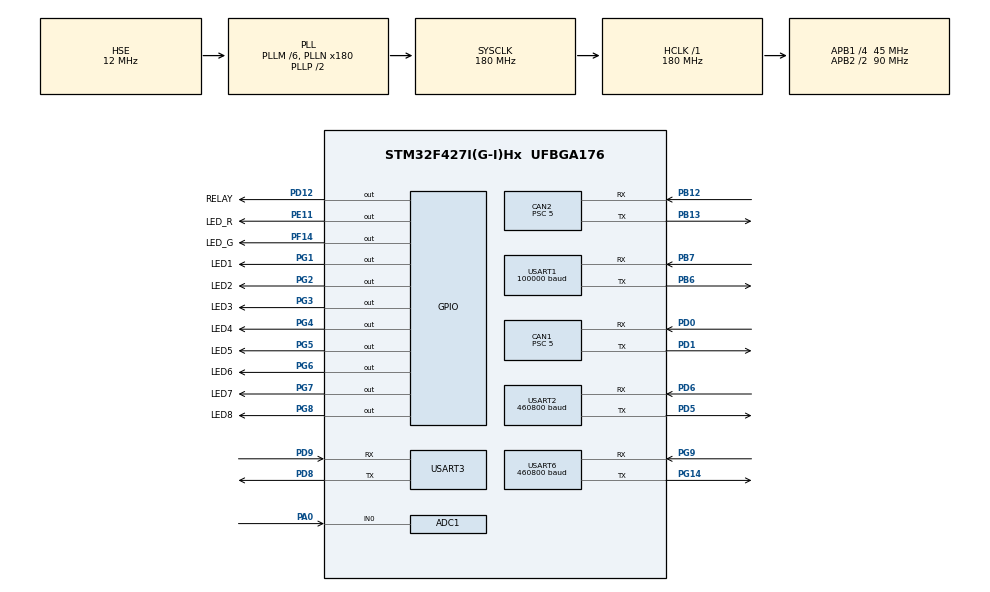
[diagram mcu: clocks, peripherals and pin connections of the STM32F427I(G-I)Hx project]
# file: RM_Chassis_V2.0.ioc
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ADC1.Channel-8\#ChannelRegularConversion=ADC_CHANNEL_0
ADC1.NbrOfConversionFlag=1
ADC1.Rank-8\#ChannelRegularConversion=1
ADC1.SamplingTime-8\#ChannelRegularConversion=ADC_SAMPLETIME_3CYCLES
ADC1.master=1
CAN1.ABOM=ENABLE
CAN1.BS1=CAN_BS1_3TQ
CAN1.BS2=CAN_BS2_5TQ
CAN1.CalculateTimeQuantum=111.11111111111111
CAN1.Prescaler=5
CAN2.ABOM=ENABLE
CAN2.BS1=CAN_BS1_3TQ
CAN2.BS2=CAN_BS2_5TQ
CAN2.CalculateTimeQuantum=111.11111111111111
CAN2.Prescaler=5
Dma.Request0=USART2_RX
Dma.Request1=USART3_RX
Dma.Request2=USART2_TX
Dma.Request3=USART3_TX
Dma.Request4=USART1_RX
Dma.Request5=USART6_RX
Dma.Request6=USART6_TX
Dma.USART1_RX.4.Direction=DMA_PERIPH_TO_MEMORY
Dma.USART1_RX.4.FIFOMode=DMA_FIFOMODE_DISABLE
Dma.USART1_RX.4.Instance=DMA2_Stream2
Dma.USART1_RX.4.MemDataAlignment=DMA_MDATAALIGN_BYTE
Dma.USART1_RX.4.MemInc=DMA_MINC_ENABLE
Dma.USART1_RX.4.Mode=DMA_NORMAL
Dma.USART1_RX.4.PeriphDataAlignment=DMA_PDATAALIGN_BYTE
Dma.USART1_RX.4.PeriphInc=DMA_PINC_DISABLE
Dma.USART1_RX.4.Priority=DMA_PRIORITY_LOW
Dma.USART2_RX.0.Direction=DMA_PERIPH_TO_MEMORY
Dma.USART2_RX.0.FIFOMode=DMA_FIFOMODE_DISABLE
Dma.USART2_RX.0.Instance=DMA1_Stream5
Dma.USART2_RX.0.MemDataAlignment=DMA_MDATAALIGN_BYTE
Dma.USART2_RX.0.MemInc=DMA_MINC_ENABLE
Dma.USART2_RX.0.Mode=DMA_NORMAL
Dma.USART2_RX.0.PeriphDataAlignment=DMA_PDATAALIGN_BYTE
Dma.USART2_RX.0.PeriphInc=DMA_PINC_DISABLE
Dma.USART2_RX.0.Priority=DMA_PRIORITY_LOW
Dma.USART2_TX.2.Direction=DMA_MEMORY_TO_PERIPH
Dma.USART2_TX.2.FIFOMode=DMA_FIFOMODE_DISABLE
Dma.USART2_TX.2.Instance=DMA1_Stream6
Dma.USART2_TX.2.MemDataAlignment=DMA_MDATAALIGN_BYTE
Dma.USART2_TX.2.MemInc=DMA_MINC_ENABLE
Dma.USART2_TX.2.Mode=DMA_NORMAL
Dma.USART2_TX.2.PeriphDataAlignment=DMA_PDATAALIGN_BYTE
Dma.USART2_TX.2.PeriphInc=DMA_PINC_DISABLE
Dma.USART2_TX.2.Priority=DMA_PRIORITY_LOW
Dma.USART3_RX.1.Direction=DMA_PERIPH_TO_MEMORY
Dma.USART3_RX.1.FIFOMode=DMA_FIFOMODE_DISABLE
Dma.USART3_RX.1.Instance=DMA1_Stream1
Dma.USART3_RX.1.MemDataAlignment=DMA_MDATAALIGN_BYTE
Dma.USART3_RX.1.MemInc=DMA_MINC_ENABLE
Dma.USART3_RX.1.Mode=DMA_NORMAL
Dma.USART3_RX.1.PeriphDataAlignment=DMA_PDATAALIGN_BYTE
Dma.USART3_RX.1.PeriphInc=DMA_PINC_DISABLE
Dma.USART3_RX.1.Priority=DMA_PRIORITY_LOW
Dma.USART3_TX.3.Direction=DMA_MEMORY_TO_PERIPH
Dma.USART3_TX.3.FIFOMode=DMA_FIFOMODE_DISABLE
Dma.USART3_TX.3.Instance=DMA1_Stream3
Dma.USART3_TX.3.MemDataAlignment=DMA_MDATAALIGN_BYTE
Dma.USART3_TX.3.MemInc=DMA_MINC_ENABLE
Dma.USART3_TX.3.Mode=DMA_NORMAL
Dma.USART3_TX.3.PeriphDataAlignment=DMA_PDATAALIGN_BYTE
Dma.USART3_TX.3.PeriphInc=DMA_PINC_DISABLE
Dma.USART3_TX.3.Priority=DMA_PRIORITY_LOW
Dma.USART6_RX.5.Direction=DMA_PERIPH_TO_MEMORY
Dma.USART6_RX.5.FIFOMode=DMA_FIFOMODE_DISABLE
Dma.USART6_RX.5.Instance=DMA2_Stream1
Dma.USART6_RX.5.MemDataAlignment=DMA_MDATAALIGN_BYTE
Dma.USART6_RX.5.MemInc=DMA_MINC_ENABLE
Dma.USART6_RX.5.Mode=DMA_NORMAL
Dma.USART6_RX.5.PeriphDataAlignment=DMA_PDATAALIGN_BYTE
Dma.USART6_RX.5.PeriphInc=DMA_PINC_DISABLE
Dma.USART6_RX.5.Priority=DMA_PRIORITY_LOW
Dma.USART6_TX.6.Direction=DMA_MEMORY_TO_PERIPH
Dma.USART6_TX.6.FIFOMode=DMA_FIFOMODE_DISABLE
Dma.USART6_TX.6.Instance=DMA2_Stream6
Dma.USART6_TX.6.MemDataAlignment=DMA_MDATAALIGN_BYTE
Dma.USART6_TX.6.MemInc=DMA_MINC_ENABLE
Dma.USART6_TX.6.Mode=DMA_NORMAL
Dma.USART6_TX.6.PeriphDataAlignment=DMA_PDATAALIGN_BYTE
Dma.USART6_TX.6.PeriphInc=DMA_PINC_DISABLE
Dma.USART6_TX.6.Priority=DMA_PRIORITY_LOW
FREERTOS.INCLUDE_uxTaskGetStackHighWaterMark=1
FREERTOS.INCLUDE_vTaskDelayUntil=1
FREERTOS.Tasks01=defaultTask,0,128,StartDefaultTask,Default,NULL,Dynamic,NULL,NULL;chasTask,0,256,ChassisTask1,Default,NULL,Dynamic,NULL,NULL;capsTask,0,128,SuperCapsTask1,Default,NULL,Dynamic,NULL,NULL;gimTask,0,128,GimbalTask1,Default,NULL,Dynamic,NULL,NULL;detTask,-3,128,DetectTask1,Default,NULL,Dynamic,NULL,NULL;judgTask,0,128,JudgmentTask1,Default,NULL,Dynamic,NULL,NULL
Mcu.Family=STM32F4
Mcu.Name=STM32F427I(G-I)Hx
Mcu.Package=UFBGA176
NVIC.CAN1_RX0_IRQn=true\:5\:0\:false\:false\:true\:true\:true
NVIC.CAN1_TX_IRQn=true\:5\:0\:false\:false\:true\:true\:true
NVIC.CAN2_RX0_IRQn=true\:5\:0\:false\:false\:true\:true\:true
NVIC.CAN2_TX_IRQn=true\:5\:0\:false\:false\:true\:true\:true
NVIC.DMA1_Stream1_IRQn=true\:5\:0\:false\:false\:true\:true\:false
NVIC.DMA1_Stream3_IRQn=true\:5\:0\:false\:false\:true\:true\:false
NVIC.DMA1_Stream5_IRQn=true\:5\:0\:false\:false\:true\:true\:false
NVIC.DMA1_Stream6_IRQn=true\:5\:0\:false\:false\:true\:true\:false
NVIC.DMA2_Stream1_IRQn=true\:5\:0\:false\:false\:true\:true\:false
NVIC.DMA2_Stream2_IRQn=true\:5\:0\:false\:false\:true\:true\:false
NVIC.DMA2_Stream6_IRQn=true\:5\:0\:false\:false\:true\:true\:false
NVIC.PriorityGroup=NVIC_PRIORITYGROUP_4
NVIC.USART1_IRQn=true\:5\:0\:false\:false\:true\:true\:true
NVIC.USART2_IRQn=true\:5\:0\:false\:false\:true\:true\:true
NVIC.USART3_IRQn=true\:5\:0\:false\:false\:true\:true\:true
NVIC.USART6_IRQn=true\:5\:0\:false\:false\:true\:true\:true
PA0/WKUP.Signal=ADCx_IN0
PA13.Mode=Serial_Wire
PA13.Signal=SYS_JTMS-SWDIO
PA14.Mode=Serial_Wire
PA14.Signal=SYS_JTCK-SWCLK
PB12.Mode=Slave
PB12.Signal=CAN2_RX
PB13.Mode=Slave
PB13.Signal=CAN2_TX
PB6.Mode=Asynchronous
PB6.Signal=USART1_TX
PB7.Mode=Asynchronous
PB7.Signal=USART1_RX
PD0.Mode=Master
PD0.Signal=CAN1_RX
PD1.Mode=Master
PD1.Signal=CAN1_TX
PD12.GPIO_Label=RELAY
PD12.Signal=GPIO_Output
PD5.Mode=Asynchronous
PD5.Signal=USART2_TX
PD6.Mode=Asynchronous
PD6.Signal=USART2_RX
PD8.Mode=Asynchronous
PD8.Signal=USART3_TX
PD9.Mode=Asynchronous
PD9.Signal=USART3_RX
PE11.GPIO_Label=LED_R
PE11.Signal=GPIO_Output
PF14.GPIO_Label=LED_G
PF14.Signal=GPIO_Output
PG1.GPIO_Label=LED1
PG1.Signal=GPIO_Output
PG14.Mode=Asynchronous
PG14.Signal=USART6_TX
PG2.GPIO_Label=LED2
PG2.Signal=GPIO_Output
PG3.GPIO_Label=LED3
PG3.Signal=GPIO_Output
PG4.GPIO_Label=LED4
PG4.Signal=GPIO_Output
PG5.GPIO_Label=LED5
PG5.Signal=GPIO_Output
PG6.GPIO_Label=LED6
PG6.Signal=GPIO_Output
PG7.GPIO_Label=LED7
PG7.Signal=GPIO_Output
PG8.GPIO_Label=LED8
PG8.Signal=GPIO_Output
PG9.Mode=Asynchronous
PG9.Signal=USART6_RX
PH0/OSC_IN.Mode=HSE-External-Oscillator
PH0/OSC_IN.Signal=RCC_OSC_IN
PH1/OSC_OUT.Mode=HSE-External-Oscillator
PH1/OSC_OUT.Signal=RCC_OSC_OUT
ProjectManager.HeapSize=0x200
ProjectManager.StackSize=0x400
ProjectManager.TargetToolchain=MDK-ARM V5
RCC.48MHZClocksFreq_Value=90000000
RCC.AHBFreq_Value=180000000
RCC.APB1CLKDivider=RCC_HCLK_DIV4
RCC.APB1Freq_Value=45000000
RCC.APB1TimFreq_Value=90000000
RCC.APB2CLKDivider=RCC_HCLK_DIV2
RCC.APB2Freq_Value=90000000
RCC.APB2TimFreq_Value=180000000
RCC.CortexFreq_Value=180000000
RCC.HCLKFreq_Value=180000000
RCC.HSE_VALUE=12000000
RCC.HSI_VALUE=16000000
RCC.LSE_VALUE=32768
RCC.PLLM=6
RCC.PLLN=180
RCC.PLLSourceVirtual=RCC_PLLSOURCE_HSE
RCC.SYSCLKFreq_VALUE=180000000
RCC.SYSCLKSource=RCC_SYSCLKSOURCE_PLLCLK
RCC.VCOOutputFreq_Value=360000000
SH.ADCx_IN0.0=ADC1_IN0,IN0
USART1.BaudRate=100000
USART1.Parity=PARITY_EVEN
USART1.VirtualMode=VM_ASYNC
USART2.BaudRate=460800
USART2.VirtualMode=VM_ASYNC
USART3.VirtualMode=VM_ASYNC
USART6.BaudRate=460800
USART6.VirtualMode=VM_ASYNC
VP_FREERTOS_VS_ENABLE.Mode=Enabled
board=custom

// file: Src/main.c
/**
  ******************************************************************************
  * @file           : main.c
  * @brief          : Main program body
  ******************************************************************************
  * This notice applies to any and all portions of this file
  * that are not between comment pairs USER CODE BEGIN and
  * USER CODE END. Other portions of this file, whether
  * inserted by the user or by software development tools
  * are owned by their respective copyright owners.
  *
  * Copyright (c) 2019 STMicroelectronics International N.V.
  * All rights reserved.
  *
  * Redistribution and use in source and binary forms, with or without
  * modification, are permitted, provided that the following conditions are met:
  *
  * 1. Redistribution of source code must retain the above copyright notice,
  *    this list of conditions and the following disclaimer.
  * 2. Redistributions in binary form must reproduce the above copyright notice,
  *    this list of conditions and the following disclaimer in the documentation
  *    and/or other materials provided with the distribution.
  * 3. Neither the name of STMicroelectronics nor the names of other
  *    contributors to this software may be used to endorse or promote products
  *    derived from this software without specific written permission.
  * 4. This software, including modifications and/or derivative works of this
  *    software, must execute solely and exclusively on microcontroller or
  *    microprocessor devices manufactured by or for STMicroelectronics.
  * 5. Redistribution and use of this software other than as permitted under
  *    this license is void and will automatically terminate your rights under
  *    this license.
  *
  * THIS SOFTWARE IS PROVIDED BY STMICROELECTRONICS AND CONTRIBUTORS "AS IS"
  * AND ANY EXPRESS, IMPLIED OR STATUTORY WARRANTIES, INCLUDING, BUT NOT
  * LIMITED TO, THE IMPLIED WARRANTIES OF MERCHANTABILITY, FITNESS FOR A
  * PARTICULAR PURPOSE AND NON-INFRINGEMENT OF THIRD PARTY INTELLECTUAL PROPERTY
  * RIGHTS ARE DISCLAIMED TO THE FULLEST EXTENT PERMITTED BY LAW. IN NO EVENT
  * SHALL STMICROELECTRONICS OR CONTRIBUTORS BE LIABLE FOR ANY DIRECT, INDIRECT,
  * INCIDENTAL, SPECIAL, EXEMPLARY, OR CONSEQUENTIAL DAMAGES (INCLUDING, BUT NOT
  * LIMITED TO, PROCUREMENT OF SUBSTITUTE GOODS OR SERVICES; LOSS OF USE, DATA,
  * OR PROFITS; OR BUSINESS INTERRUPTION) HOWEVER CAUSED AND ON ANY THEORY OF
  * LIABILITY, WHETHER IN CONTRACT, STRICT LIABILITY, OR TORT (INCLUDING
  * NEGLIGENCE OR OTHERWISE) ARISING IN ANY WAY OUT OF THE USE OF THIS SOFTWARE,
  * EVEN IF ADVISED OF THE POSSIBILITY OF SUCH DAMAGE.
  *
  ******************************************************************************
  */
#include "main.h"
#include "stm32f4xx_hal.h"
#include "cmsis_os.h"
#include "adc.h"
#include "can.h"
#include "dma.h"
#include "usart.h"
#include "gpio.h"

/* USER CODE BEGIN Includes */
#include "bsp_can.h"
#include "chassis_task.h"
#include "detect_task.h"
#include "RM_Define.h"
#include "Richjlib.h"
#include "DR16.h"
#include "judgement_info.h"
#include "gimbal_task.h"

/* USER CODE END Includes */

/* USER CODE BEGIN PV */
/* Private variables ---------------------------------------------------------*/

/* USER CODE END PV */

void SystemClock_Config(void);
void MX_FREERTOS_Init(void);

/* USER CODE BEGIN PFP */
/* Private function prototypes -----------------------------------------------*/
void sys_delay(void);

/* USER CODE END PFP */

int main(void)
{

  /* MCU Configuration----------------------------------------------------------*/

  /* Reset of all peripherals, Initializes the Flash interface and the Systick. */
  HAL_Init();

  /* Configure the system clock */
  SystemClock_Config();

  /* Initialize all configured peripherals */
  MX_GPIO_Init();
  MX_DMA_Init();
  MX_CAN1_Init();
  MX_CAN2_Init();
  MX_USART1_UART_Init();
  MX_USART2_UART_Init();
  MX_USART3_UART_Init();
  MX_ADC1_Init();
  MX_USART6_UART_Init();
  /* USER CODE BEGIN 2 */

	can_device_init();

	HAL_CAN_Receive_IT(&hcan1, CAN_FIFO0);
	HAL_CAN_Receive_IT(&hcan2, CAN_FIFO0);

	RichJ_UART_Receive_IT(&DBUS_HUART, RCrx, 30);
	RichJ_UART_Receive_IT(&PC_HUART, auto_aim_info.receive_buf, 15);
	RichJ_UART_Receive_IT(&JUDGEMENT_HUART, judgement_receive.buf, 50);

	sys_delay();

	#if Infantry_Test == 1
		while(1);
	#endif

  /* USER CODE END 2 */

  /* Call init function for freertos objects (in freertos.c) */
  MX_FREERTOS_Init();

  /* Start scheduler */
  osKernelStart();

  /* We should never get here as control is now taken by the scheduler */

  /* Infinite loop */
  while (1)
  {

  }

}

void SystemClock_Config(void)
{

  RCC_OscInitTypeDef RCC_OscInitStruct;
  RCC_ClkInitTypeDef RCC_ClkInitStruct;

    /**Configure the main internal regulator output voltage
    */
  __HAL_RCC_PWR_CLK_ENABLE();

  __HAL_PWR_VOLTAGESCALING_CONFIG(PWR_REGULATOR_VOLTAGE_SCALE1);

    /**Initializes the CPU, AHB and APB busses clocks
    */
  RCC_OscInitStruct.OscillatorType = RCC_OSCILLATORTYPE_HSE;
  RCC_OscInitStruct.HSEState = RCC_HSE_ON;
  RCC_OscInitStruct.PLL.PLLState = RCC_PLL_ON;
  RCC_OscInitStruct.PLL.PLLSource = RCC_PLLSOURCE_HSE;
  RCC_OscInitStruct.PLL.PLLM = 6;
  RCC_OscInitStruct.PLL.PLLN = 180;
  RCC_OscInitStruct.PLL.PLLP = RCC_PLLP_DIV2;
  RCC_OscInitStruct.PLL.PLLQ = 4;
  if (HAL_RCC_OscConfig(&RCC_OscInitStruct) != HAL_OK)
  {
    _Error_Handler(__FILE__, __LINE__);
  }

    /**Activate the Over-Drive mode
    */
  if (HAL_PWREx_EnableOverDrive() != HAL_OK)
  {
    _Error_Handler(__FILE__, __LINE__);
  }

    /**Initializes the CPU, AHB and APB busses clocks
    */
  RCC_ClkInitStruct.ClockType = RCC_CLOCKTYPE_HCLK|RCC_CLOCKTYPE_SYSCLK
                              |RCC_CLOCKTYPE_PCLK1|RCC_CLOCKTYPE_PCLK2;
  RCC_ClkInitStruct.SYSCLKSource = RCC_SYSCLKSOURCE_PLLCLK;
  RCC_ClkInitStruct.AHBCLKDivider = RCC_SYSCLK_DIV1;
  RCC_ClkInitStruct.APB1CLKDivider = RCC_HCLK_DIV4;
  RCC_ClkInitStruct.APB2CLKDivider = RCC_HCLK_DIV2;

  if (HAL_RCC_ClockConfig(&RCC_ClkInitStruct, FLASH_LATENCY_5) != HAL_OK)
  {
    _Error_Handler(__FILE__, __LINE__);
  }

    /**Configure the Systick interrupt time
    */
  HAL_SYSTICK_Config(HAL_RCC_GetHCLKFreq()/1000);

    /**Configure the Systick
    */
  HAL_SYSTICK_CLKSourceConfig(SYSTICK_CLKSOURCE_HCLK);

  /* SysTick_IRQn interrupt configuration */
  HAL_NVIC_SetPriority(SysTick_IRQn, 15, 0);
}

/* USER CODE BEGIN 4 */

void sys_delay(void)
{
//	HAL_Delay(500);iwdg_reset();
//	HAL_Delay(500);iwdg_reset();
//	HAL_Delay(500);iwdg_reset();
//	HAL_Delay(500);iwdg_reset();
//	HAL_Delay(500);iwdg_reset();
//	HAL_Delay(500);iwdg_reset();
//	HAL_Delay(500);iwdg_reset();
//	HAL_Delay(500);iwdg_reset();

	HAL_Delay(5000);
}

/* USER CODE END 4 */

void _Error_Handler(char *file, int line)
{
  while(1)
  {
  }
}

/************************ (C) COPYRIGHT STMicroelectronics *****END OF FILE****/

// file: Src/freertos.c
/**
  ******************************************************************************
  * File Name          : freertos.c
  * Description        : Code for freertos applications
  ******************************************************************************
  * This notice applies to any and all portions of this file
  * that are not between comment pairs USER CODE BEGIN and
  * USER CODE END. Other portions of this file, whether
  * inserted by the user or by software development tools
  * are owned by their respective copyright owners.
  *
  * Copyright (c) 2019 STMicroelectronics International N.V.
  * All rights reserved.
  *
  * Redistribution and use in source and binary forms, with or without
  * modification, are permitted, provided that the following conditions are met:
  *
  * 1. Redistribution of source code must retain the above copyright notice,
  *    this list of conditions and the following disclaimer.
  * 2. Redistributions in binary form must reproduce the above copyright notice,
  *    this list of conditions and the following disclaimer in the documentation
  *    and/or other materials provided with the distribution.
  * 3. Neither the name of STMicroelectronics nor the names of other
  *    contributors to this software may be used to endorse or promote products
  *    derived from this software without specific written permission.
  * 4. This software, including modifications and/or derivative works of this
  *    software, must execute solely and exclusively on microcontroller or
  *    microprocessor devices manufactured by or for STMicroelectronics.
  * 5. Redistribution and use of this software other than as permitted under
  *    this license is void and will automatically terminate your rights under
  *    this license.
  *
  * THIS SOFTWARE IS PROVIDED BY STMICROELECTRONICS AND CONTRIBUTORS "AS IS"
  * AND ANY EXPRESS, IMPLIED OR STATUTORY WARRANTIES, INCLUDING, BUT NOT
  * LIMITED TO, THE IMPLIED WARRANTIES OF MERCHANTABILITY, FITNESS FOR A
  * PARTICULAR PURPOSE AND NON-INFRINGEMENT OF THIRD PARTY INTELLECTUAL PROPERTY
  * RIGHTS ARE DISCLAIMED TO THE FULLEST EXTENT PERMITTED BY LAW. IN NO EVENT
  * SHALL STMICROELECTRONICS OR CONTRIBUTORS BE LIABLE FOR ANY DIRECT, INDIRECT,
  * INCIDENTAL, SPECIAL, EXEMPLARY, OR CONSEQUENTIAL DAMAGES (INCLUDING, BUT NOT
  * LIMITED TO, PROCUREMENT OF SUBSTITUTE GOODS OR SERVICES; LOSS OF USE, DATA,
  * OR PROFITS; OR BUSINESS INTERRUPTION) HOWEVER CAUSED AND ON ANY THEORY OF
  * LIABILITY, WHETHER IN CONTRACT, STRICT LIABILITY, OR TORT (INCLUDING
  * NEGLIGENCE OR OTHERWISE) ARISING IN ANY WAY OUT OF THE USE OF THIS SOFTWARE,
  * EVEN IF ADVISED OF THE POSSIBILITY OF SUCH DAMAGE.
  *
  ******************************************************************************
  */

#include "FreeRTOS.h"
#include "task.h"
#include "cmsis_os.h"

/* USER CODE BEGIN Includes */
#include "chassis_task.h"
#include "detect_task.h"
#include "super_caps_task.h"
#include "gimbal_task.h"
#include "judgement_task.h"

/* USER CODE END Includes */

osThreadId defaultTaskHandle;
osThreadId chasTaskHandle;
osThreadId capsTaskHandle;
osThreadId gimTaskHandle;
osThreadId detTaskHandle;
osThreadId judgTaskHandle;

void StartDefaultTask(void const * argument);
void ChassisTask1(void const * argument);
void SuperCapsTask1(void const * argument);
void GimbalTask1(void const * argument);
void DetectTask1(void const * argument);
void JudgmentTask1(void const * argument);

void MX_FREERTOS_Init(void); /* (MISRA C 2004 rule 8.1) */

/* Hook prototypes */

/* Init FreeRTOS */

void MX_FREERTOS_Init(void) {

  /* Create the thread(s) */
  /* definition and creation of defaultTask */
  osThreadDef(defaultTask, StartDefaultTask, osPriorityNormal, 0, 128);
  defaultTaskHandle = osThreadCreate(osThread(defaultTask), NULL);

  /* definition and creation of chasTask */
  osThreadDef(chasTask, ChassisTask1, osPriorityNormal, 0, 256);
  chasTaskHandle = osThreadCreate(osThread(chasTask), NULL);

  /* definition and creation of capsTask */
  osThreadDef(capsTask, SuperCapsTask1, osPriorityNormal, 0, 128);
  capsTaskHandle = osThreadCreate(osThread(capsTask), NULL);

  /* definition and creation of gimTask */
  osThreadDef(gimTask, GimbalTask1, osPriorityNormal, 0, 128);
  gimTaskHandle = osThreadCreate(osThread(gimTask), NULL);

  /* definition and creation of detTask */
  osThreadDef(detTask, DetectTask1, osPriorityIdle, 0, 128);
  detTaskHandle = osThreadCreate(osThread(detTask), NULL);

  /* definition and creation of judgTask */
  osThreadDef(judgTask, JudgmentTask1, osPriorityNormal, 0, 128);
  judgTaskHandle = osThreadCreate(osThread(judgTask), NULL);

}

/* StartDefaultTask function */
void StartDefaultTask(void const * argument)
{

  for(;;)
  {
    osDelay(1);
  }
}

/* ChassisTask1 function */
void ChassisTask1(void const * argument)
{
  /* USER CODE BEGIN ChassisTask1 */
  /* Infinite loop */
  for(;;)
  {
		ChassisTask();
  }
  /* USER CODE END ChassisTask1 */
}

/* SuperCapsTask1 function */
void SuperCapsTask1(void const * argument)
{
  /* USER CODE BEGIN SuperCapsTask1 */
  /* Infinite loop */
  for(;;)
  {
		caps_task();
  }
  /* USER CODE END SuperCapsTask1 */
}

/* GimbalTask1 function */
void GimbalTask1(void const * argument)
{
  /* USER CODE BEGIN GimbalTask1 */
  /* Infinite loop */
  for(;;)
  {
		GimbalTask();
  }
  /* USER CODE END GimbalTask1 */
}

/* DetectTask1 function */
void DetectTask1(void const * argument)
{
  /* USER CODE BEGIN DetectTask1 */
  /* Infinite loop */
  for(;;)
  {
		detect_Task();
  }
  /* USER CODE END DetectTask1 */
}

/* JudgmentTask1 function */
void JudgmentTask1(void const * argument)
{
  /* USER CODE BEGIN JudgmentTask1 */
  /* Infinite loop */
  for(;;)
  {
		judgement_unpack();
  }
  /* USER CODE END JudgmentTask1 */
}

/************************ (C) COPYRIGHT STMicroelectronics *****END OF FILE****/
